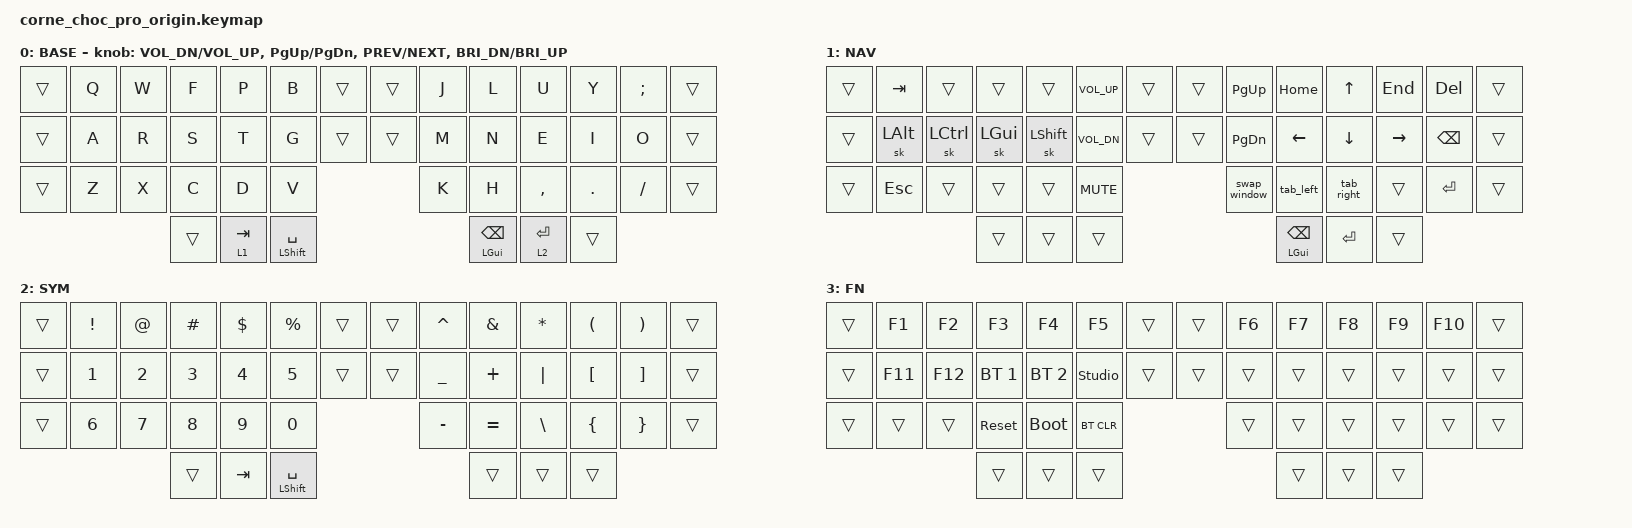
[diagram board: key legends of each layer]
/*
 * Copyright (c) 2020 The ZMK Contributors
 *
 * SPDX-License-Identifier: MIT
 */

#include <behaviors.dtsi>
#include <dt-bindings/zmk/keys.h>
#include <dt-bindings/zmk/bt.h>
#include <dt-bindings/zmk/rgb.h>

/ {
    conditional_layers {
        compatible = "zmk,conditional-layers";
        fn_layer {
            if-layers = <1 2>; // NAV (1) and SYM (2) 
            then-layer = <3>;  // Activates FN (3)
        };
    };
};

/ {
    macros {
        tab_left: c_s_tab {
            compatible = "zmk,behavior-macro";
            #binding-cells = <0>;
            bindings
                = <&macro_press &kp LCTRL &kp LSHFT>
                , <&macro_tap &kp TAB>
                , <&macro_release &kp LCTRL &kp LSHFT>
                ;
        };
        tab_right: c_tab {
            compatible = "zmk,behavior-macro";
            #binding-cells = <0>;
            bindings
                = <&macro_press &kp LCTRL>
                , <&macro_tap &kp TAB>
                , <&macro_release &kp LCTRL>
                ;
        };
        swap_window: g_tab {
            compatible = "zmk,behavior-macro";
            #binding-cells = <0>;
            bindings
                = <&macro_press &kp LGUI>
                , <&macro_tap &kp TAB>
                , <&macro_release &kp LGUI>
                ;
        };
    };
};

/ {
    combos {
        compatible = "zmk,combos";
        
        combo_tab {
            timeout-ms = <50>;
            key-positions = <2 3>; // The positions of W and E on a 46-key Corne
            bindings = <&kp TAB>;
            layers = <0>;           // 0 is the index of your BASE layer
        };
        combo_grave {
            timeout-ms = <50>;
            key-positions = <15 16>; // The positions of Q and W on a 46-key Corne
            bindings = <&kp GRAVE>;
            layers = <0>;           // 0 is the index of your BASE layer
        };
        combo_esc {
            timeout-ms = <50>;
            key-positions = <16 17>; // The positions of S and D on a 46-key Corne
            bindings = <&kp ESC>;
            layers = <0>;           // 0 is the index of your BASE layer
        };
        combo_del {
            timeout-ms = <50>;
            key-positions = <10 11>; // The positions of I and O on a 46-key Corne
            bindings = <&kp DEL>;
            layers = <0>;           // 0 is the index of your BASE layer
        };
        combo_bcsp {
            timeout-ms = <50>;
            key-positions = <24 25>; // The positions of K and L on a 46-key Corne
            bindings = <&kp BSPC>;
            layers = <0>;           // 0 is the index of your BASE layer
        };
        combo_sqt {
            timeout-ms = <50>;
            key-positions = <25 26>; // The positions of L and ; on a 46-key Corne
            bindings = <&kp SQT>;
            layers = <0>;           // 0 is the index of your BASE layer
        };
        combo_ret {
            timeout-ms = <50>;
            key-positions = <36 37>; // The positions of K and L on a 46-key Corne
            bindings = <&kp RET>;
            layers = <0>;           // 0 is the index of your BASE layer
        };
        combo_lalt {
            timeout-ms = <50>;
            key-positions = <15 29>; // The positions of A and Z on a 46-key Corne
            bindings = <&sk LALT>;
            layers = <0>;           // 0 is the index of your BASE layer
        };
        combo_lctrl {
            timeout-ms = <50>;
            key-positions = <16 30>; // The positions of S and X on a 46-key Corne
            bindings = <&sk LCTRL>;
            layers = <0>;           // 0 is the index of the BASE layer
        };
        combo_lgui {
            timeout-ms = <50>;
            key-positions = <17 31>; // The positions of D and C on a 46-key Corne
            bindings = <&sk LGUI>;
            layers = <0>;           // 0 is the index of the BASE layer
        };
        combo_lshft {
            timeout-ms = <50>;
            key-positions = <18 32>; // The positions of F and V on a 46-key Corne
            bindings = <&sk LSHFT>;
            layers = <0>;           // 0 is the index of the BASE layer
        };
        combo_ralt {
            timeout-ms = <50>;
            key-positions = <23 35>; // The positions of J and M on a 46-key Corne
            bindings = <&sk RSHFT>;
            layers = <0>;           // 0 is the index of the BASE layer
        };
        combo_rctrl {
            timeout-ms = <50>;
            key-positions = <24 36>; // The positions of K and , on a 46-key Corne
            bindings = <&sk RGUI>;
            layers = <0>;           // 0 is the index of the BASE layer
        };
        combo_rgui {
            timeout-ms = <50>;
            key-positions = <25 37>; // The positions of L and . on a 46-key Corne
            bindings = <&sk RCTRL>;
            layers = <0>;           // 0 is the index of the BASE layer
        };
        combo_rshft {
            timeout-ms = <50>;
            key-positions = <26 38>; // The positions of ; and / on a 46-key Corne
            bindings = <&sk RALT>;
            layers = <0>;           // 0 is the index of the BASE layer
        };

    };
};

/ {
    chosen {
        zmk,physical-layout = &default_layout;
    };
};

/ {
    keymap {
        compatible = "zmk,keymap";

        default_layer {
            display-name = "BASE";
            /*
                 Pinky     Ring    Middle    Index   Inner     Inner   Index    Middle    Ring    Pinky
                ┌───────┬────────┬────────┬────────┬───────┐ ┌───────┬────────┬────────┬────────┬───────┐
            Top |   Q   |   W    |   F    |   P    |   B   | |   J   |   L    |   U    |   Y    |   ;   |
                ├───────┼────────┼────────┼────────┼───────┤ ├───────┼────────┼────────┼────────┼───────┤
            Home|   A   |   R    |   S    |   T    |   G   | |   M   |   N    |   E    |   I    |   O   |
                ├───────┼────────┼────────┼────────┼───────┤ ├───────┼────────┼────────┼────────┼───────┤
            Bot |   Z   |   X    |   C    |   D    |   V   | |   K   |   H    |   ,    |   .    |   /   |
                └───────┴────────┴────────┴────────┴───────┘ └───────┴────────┴────────┴────────┴───────┘
                                    ┌────────┬───────┐                 ┌───────┬────────┐
                                    |  TAB   | SPACE |                 | BSPC  |  RET   |
                                    |  NAV   | SHFT  |                 | GUI   |  SYM   |
                                    └────────┴───────┘                 └───────┴────────┘
            */

            bindings = <
                &trans &kp Q   &kp W   &kp F   &kp P   &kp B            &trans &trans  &kp J   &kp L   &kp U     &kp Y   &kp SEMI  &trans
                &trans &kp A   &kp R   &kp S   &kp T   &kp G            &trans &trans  &kp M   &kp N   &kp E     &kp I   &kp O     &trans
                &trans &kp Z   &kp X   &kp C   &kp D   &kp V                           &kp K   &kp H   &kp COMMA &kp DOT &kp FSLH  &trans
                                       &trans  &lt 1 TAB &mt LSHFT SPACE               &mt LGUI BSPC  &lt 2 RET  &trans
            >;

            sensor-bindings = <&inc_dec_kp C_VOL_DN C_VOL_UP &inc_dec_kp PG_UP PG_DN &inc_dec_kp C_PREV C_NEXT &inc_dec_kp C_BRI_DN C_BRI_UP>;
        };

        nav_layer {
            display-name = "NAV";
            /*
                ┌─────────┬─────────┬─────────┬─────────┬─────────┐       ┌─────────┬─────────┬─────────┬─────────┬─────────┐
            Top |   TAB   |    -    |    -    |    -    | VOL UP  |       |  PG UP  |  HOME   |   UP    |   END   |   DEL   |
                ├─────────┼─────────┼─────────┼─────────┼─────────┤       ├─────────┼─────────┼─────────┼─────────┼─────────┤
            Home|  LALT   |  LCTRL  |  LGUI   |  LSHFT  | VOL DN  |       |  PG DN  |  LEFT   |  DOWN   |  RIGHT  |  BSPC   |
                | (STICKY)| (STICKY)| (STICKY)| (STICKY)|         |       |         |         |         |         |         |
                ├─────────┼─────────┼─────────┼─────────┼─────────┤       ├─────────┼─────────┼─────────┼─────────┼─────────┤
            Bot |   ESC   |    -    |    -    |    -    |  MUTE   |       | SWAP WIN| TAB LFT | TAB RGT |    -    |   RET   |
                └─────────┴─────────┴─────────┴─────────┴─────────┘       └─────────┴─────────┴─────────┴─────────┴─────────┘
                                    ┌─────────┬─────────┐                   ┌─────────┬─────────┐
                                    |    -    |    -    |                   |  BSPC   |   RET   |
                                    | (TRANS) | (TRANS) |                   |  LGUI   |         |
                                    └─────────┴─────────┘                   └─────────┴─────────┘
            */

            bindings = <
                &trans &kp TAB   &trans      &trans      &trans     &kp C_VOL_UP  &trans &trans  &kp PG_UP     &kp HOME   &kp UP     &kp END    &kp DEL   &trans
                &trans &sk LALT  &sk LCTRL   &sk LGUI    &sk LSHFT  &kp C_VOL_DN  &trans &trans  &kp PG_DN     &kp LEFT   &kp DOWN   &kp RIGHT  &kp BSPC  &trans
                &trans &kp ESC   &trans      &trans      &trans     &kp C_MUTE                   &swap_window  &tab_left  &tab_right &trans     &kp RET   &trans
                                             &trans      &trans     &trans                       &mt LGUI BSPC &kp RET    &trans
            >;
        };

        sym_layer {
            display-name = "SYM";
            /*
                ┌─────────┬─────────┬─────────┬─────────┬─────────┐       ┌─────────┬─────────┬─────────┬─────────┬─────────┐
            Top |    !    |    @    |    #    |    $    |    %    |       |    ^    |    &    |    *    |    (    |    )    |
                ├─────────┼─────────┼─────────┼─────────┼─────────┤       ├─────────┼─────────┼─────────┼─────────┼─────────┤
            Home|    1    |    2    |    3    |    4    |    5    |       |    _    |    +    |    |    |    [    |    ]    |
                ├─────────┼─────────┼─────────┼─────────┼─────────┤       ├─────────┼─────────┼─────────┼─────────┼─────────┤
            Bot |    6    |    7    |    8    |    9    |    0    |       |    -    |    =    |    \    |    {    |    }    |
                └─────────┴─────────┴─────────┴─────────┴─────────┘       └─────────┴─────────┴─────────┴─────────┴─────────┘
                                    ┌─────────┬─────────┐                   ┌─────────┬─────────┐
                                    |   TAB   |  SPACE  |                   |    -    |    -    |
                                    |         |  LSHFT  |                   | (TRANS) | (TRANS) |
                                    └─────────┴─────────┘                   └─────────┴─────────┘
            */

            bindings = <
                &trans &kp EXCL &kp AT   &kp HASH &kp DLLR &kp PRCNT       &trans &trans &kp CARET  &kp AMPS   &kp ASTRK     &kp LPAR &kp RPAR &trans
                &trans &kp N1   &kp N2   &kp N3   &kp N4   &kp N5          &trans &trans &kp UNDER  &kp PLUS   &kp PIPE      &kp LBKT &kp RBKT &trans
                &trans &kp N6   &kp N7   &kp N8   &kp N9   &kp N0                        &kp MINUS  &kp EQUAL  &kp BSLH      &kp LBRC &kp RBRC &trans
                                         &trans   &kp TAB  &mt LSHFT SPACE               &trans     &trans     &trans
            >;
        };

        fn_layer {
            display-name = "FN";
            /*
                ┌─────────┬─────────┬─────────┬─────────┬─────────┐       ┌─────────┬─────────┬─────────┬─────────┬─────────┐
            Top |   F1    |   F2    |   F3    |   F4    |   F5    |       |   F6    |   F7    |   F8    |   F9    |   F10   |
                ├─────────┼─────────┼─────────┼─────────┼─────────┤       ├─────────┼─────────┼─────────┼─────────┼─────────┤
            Home|   F11   |   F12   |  BT 1   |  BT 2   | STUDIO  |       |    -    |    -    |    -    |    -    |    -    |
                |         |         | (SEL)   | (SEL)   | UNLOCK  |       |         |         |         |         |         |
                ├─────────┼─────────┼─────────┼─────────┼─────────┤       ├─────────┼─────────┼─────────┼─────────┼─────────┤
            Bot |    -    |    -    | SYS RST | BOOTLDR | BT CLR  |       |    -    |    -    |    -    |    -    |    -    |
                └─────────┴─────────┴─────────┴─────────┴─────────┘       └─────────┴─────────┴─────────┴─────────┴─────────┘
                                    ┌─────────┬─────────┐                   ┌─────────┬─────────┐
                                    |    -    |    -    |                   |    -    |    -    |
                                    | (TRANS) | (TRANS) |                   | (TRANS) | (TRANS) |
                                    └─────────┴─────────┘                   └─────────┴─────────┘
            */
            
            bindings = <
                &trans &kp F1  &kp F2  &kp F3       &kp F4       &kp F5          &trans &trans   &kp F6 &kp F7  &kp F8  &kp F9  &kp F10 &trans
                &trans &kp F11 &kp F12 &bt BT_SEL 1 &bt BT_SEL 2 &studio_unlock  &trans &trans   &trans &trans  &trans  &trans  &trans  &trans
                &trans &trans  &trans  &sys_reset   &bootloader  &bt BT_CLR                      &trans &trans  &trans  &trans  &trans  &trans 
                                       &trans       &trans       &trans                          &trans &trans  &trans
            >;
        };
    };
};

